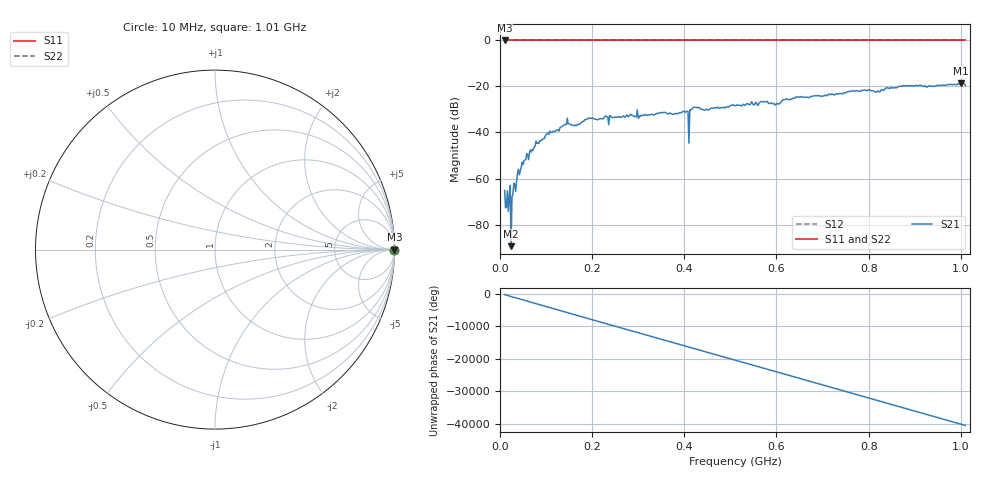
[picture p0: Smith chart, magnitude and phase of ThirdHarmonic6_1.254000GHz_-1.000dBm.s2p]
! 8/16/2025 1:26:06 PM
! C:\ANRITSUVNA\TEMP\TEMP.S2P
! CHANNEL.1
! TR.MEASUREMENT
! RAW.DATA
! RF.CORRECTION.OFF
! AVERAGING.OFF
! IF.BANDWIDTH: 5KHZ
! SWEEPTYPE:  FREQ.SWEEP(Linear)
! Reference Plane Port Info
! PORT:  PORT1  PORT2
! DISTANCE:  0  m  0  m
! TIME:  0  s  0  s
! PHASE.OFFSET:  0  deg.  0  deg.
! LOSS:  0  dB  0  dB
! REF.LOSS:  0  dB  0  dB
! REF.FREQ:  0  Hz  0  Hz
! Power Info
! POWER:  -20  dBm  -20  dBm
! EFF.POWER:  -20  dBm  -20  dBm
! SOURCE.ATTEN:  0  dB  0  dB
! TEST.ATTEN:  0  dB  0  dB
# GHZ S RI R 50.0
! FREQ.GHZ  S11RE  S11IM  S21RE  S21IM  S12RE  S12IM  S22RE  S22IM
!; PortSelection: Port_12
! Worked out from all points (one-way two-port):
!   501 points, 10 MHz to 1.01 GHz, reference 50 ohm
!   highest |S21| = -18.62 dB at 1 GHz (marker M1); lowest = -89.4 dB at 24 MHz (marker M2)
!   lowest |S11| = 0.0 dB at 10 MHz (marker M3)
!   |S11| at or under -10 dB: nowhere
!   |S22| runs from 0.0 to 0.0 dB; largest |S21 - S12| = 1.1
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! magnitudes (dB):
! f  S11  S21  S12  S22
! 10 MHz  0.0  -65.2  0.0  0.0
! 16 MHz  0.0  -65.3  0.0  0.0
! 18 MHz  0.0  -74.3  0.0  0.0
! 22 MHz  0.0  -63.1  0.0  0.0
! 24 MHz  0.0  -89.4  0.0  0.0
! 28 MHz  0.0  -66.6  0.0  0.0
! 44 MHz  0.0  -56.7  0.0  0.0
! 78 MHz  0.0  -43.8  0.0  0.0
! 142 MHz  0.0  -36.5  0.0  0.0
! 178 MHz  0.0  -35.4  0.0  0.0
! 344 MHz  0.0  -31.6  0.0  0.0
! 404 MHz  0.0  -30.8  0.0  0.0
! 406 MHz  0.0  -30.8  0.0  0.0
! 414 MHz  0.0  -30.1  0.0  0.0
! 416 MHz  0.0  -30.0  0.0  0.0
! 422 MHz  0.0  -29.1  0.0  0.0
! 510 MHz  0.0  -28.4  0.0  0.0
! 600 MHz  0.0  -27.5  0.0  0.0
! 678 MHz  0.0  -24.1  0.0  0.0
! 844 MHz  0.0  -20.8  0.0  0.0
! 1 GHz  0.0  -18.6  0.0  0.0
! 1.01 GHz  0.0  -19.4  0.0  0.0
